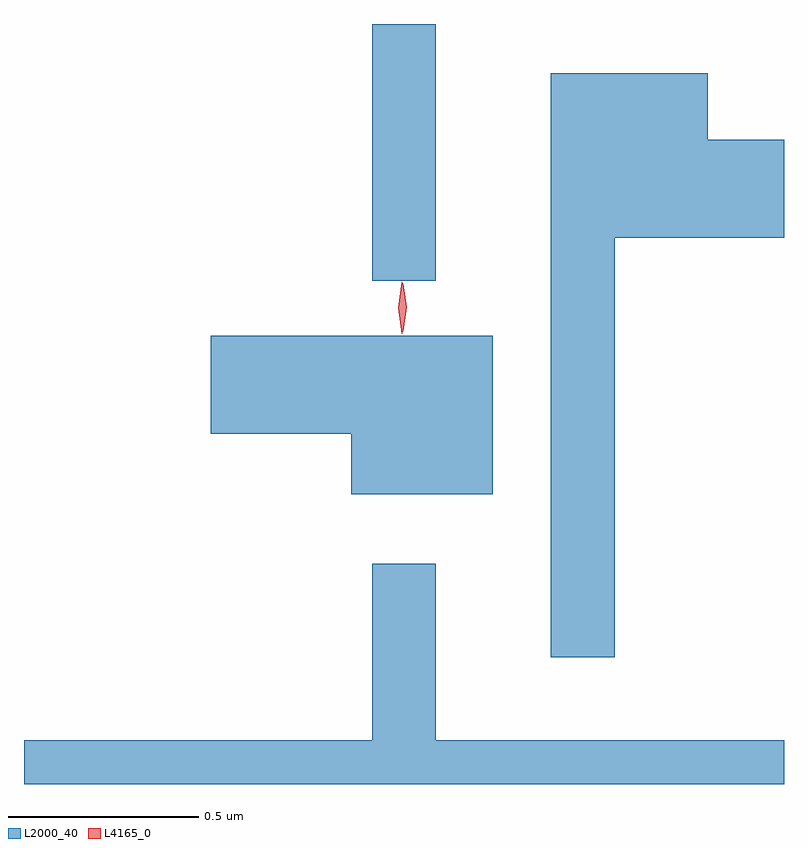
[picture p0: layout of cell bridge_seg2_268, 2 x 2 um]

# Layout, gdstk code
import gdstk
lib = gdstk.Library(unit=1e-6, precision=1e-09)
def R(c, l, rs):  # rectangles x0, y0, x1, y1
    for r in rs: c.add(gdstk.rectangle(r[:2], r[2:], *l))
def P(c, l, *ps):  # polygons
    for p in ps: c.add(gdstk.Polygon(p, *l))
L2000_40 = (2000, 40)
L4165_0 = (4165, 0)

bridge_seg2_268 = lib.new_cell('bridge_seg2_268')
R(bridge_seg2_268, L2000_40, [(496.921,1047.573,497.089,1048.249)])
P(bridge_seg2_268, L2000_40, [(497.559,1047.686),(498.005,1047.686),(498.005,1047.944),(497.804,1047.944),(497.804,1048.119),(497.391,1048.119),(497.391,1046.583),(497.559,1046.583)],
  [(497.239,1047.429),(496.496,1047.429),(496.496,1047.171),(496.866,1047.171),(496.866,1047.011),(497.239,1047.011)],
  [(498.005,1046.364),(497.089,1046.364),(497.089,1046.828),(496.921,1046.828),(496.921,1046.364),(496.005,1046.364),(496.005,1046.249),(498.005,1046.249)])
P(bridge_seg2_268, L4165_0, [(497.002,1047.44),(497.002,1047.44),(496.992,1047.503),(497.002,1047.566),(497.002,1047.567),(497.003,1047.566),(497.012,1047.503),(497.003,1047.44)],
  [(496.999,1047.434),(496.99,1047.502),(496.999,1047.57),(497,1047.57),(497,1047.57),(497.01,1047.502),(497,1047.434),(497,1047.434)])

lib.write_gds('bridge_seg2_268.gds')
